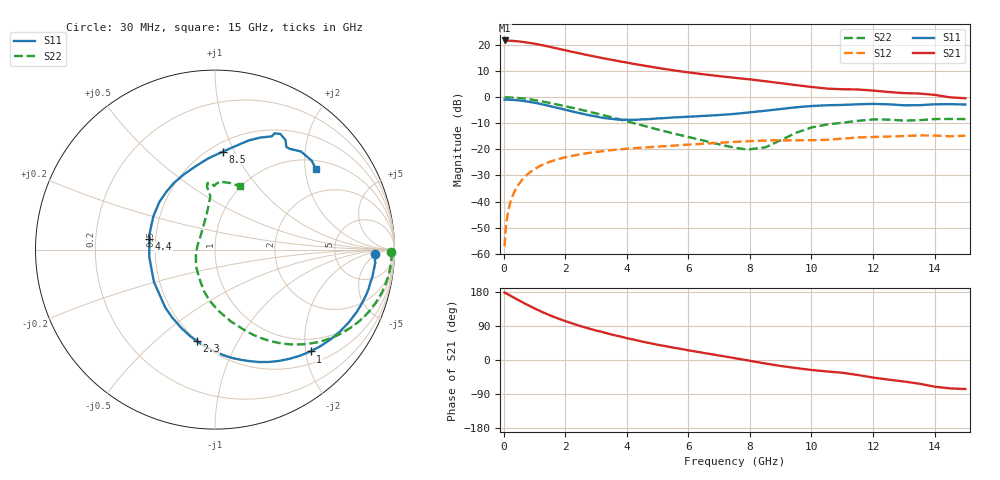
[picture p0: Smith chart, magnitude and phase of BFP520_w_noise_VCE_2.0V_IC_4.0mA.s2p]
! Infineon Technologies  Discrete & RF Semiconductors
! BFP520
! VCE =  2.0 V,  IC =  4.0 mA
! Common Emitter S-Parameters:  Oct 2015
# GHz  S  MA  R  50
!  f  S11  S21  S12  S22
! GHz  MAG  ANG  MAG  ANG  MAG  ANG  MAG  ANG
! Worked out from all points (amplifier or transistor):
!   109 points, 30 MHz to 15 GHz, reference 50 ohm
!   highest |S21| = 21.7 dB at 30 MHz (marker M1)
!   |S21| within 3 dB of that: start of sweep to 1.714 GHz
!   unconditionally stable (mu >= 1): 4.41 GHz to end of sweep
!   at 450 MHz: K = 0.11, MSG = 27.7 dB, |S12| = -34.1 dB
!   at 4 GHz: K = 0.93, MSG = 16.5 dB, |S12| = -19.8 dB
!   at 15 GHz: K = 1.43, MAG = 3.3 dB, |S12| = -14.8 dB
!   lowest NFmin = 1.09 dB at 900 MHz
!   S11 on the Smith chart (normalised r, x): 30 MHz: 17, -4; 1 GHz: 0.73, -2.10; 2.3 GHz: 0.50, -0.69; 4.4 GHz: 0.46, +0.06; 8.5 GHz: 0.58, +0.90; 15 GHz: 1.23, +2.29
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0.03  0.8938 -1.4  12.12 178.1  0.0014 74.8  0.9832 -0.9
0.1  0.8971 -4.8  11.98 175.1  0.0045 83.5  0.9846 -3.0
0.2  0.8903 -9.5  11.98 170.6  0.0089 82.7  0.9812 -6.1
0.35  0.8791 -16.7  11.82 163.9  0.0155 80.7  0.9715 -10.8
0.6  0.8488 -28.5  11.41 152.8  0.0261 74.9  0.9431 -18.3
0.8  0.8158 -37.7  10.96 144.2  0.0342 70.3  0.9118 -24.1
1  0.778 -46.8  10.49 136.3  0.0417 66.0  0.8749 -29.6
1.2  0.7366 -55.7  9.959 128.6  0.0486 61.9  0.8346 -34.8
1.5  0.6727 -68.6  9.151 118.0  0.0577 56.2  0.7715 -41.9
1.9  0.5916 -85.1  8.116 105.6  0.068 49.6  0.6884 -50.2
2.3  0.5185 -101.4  7.197 94.6  0.0765 43.9  0.6102 -57.4
2.6  0.4737 -113.8  6.596 87.0  0.0822 40.2  0.5557 -62.5
3  0.4258 -130.5  5.903 77.8  0.089 35.8  0.4873 -69.0
3.5  0.385 -152.2  5.176 67.2  0.0965 30.5  0.4111 -77.4
4.4  0.3704 171.0  4.148 50.5  0.1069 22.1  0.2976 -93.7
5.1  0.3923 149.2  3.546 38.8  0.1136 16.9  0.2318 -106.2
6  0.4209 130.1  2.968 25.5  0.1228 10.9  0.1722 -122.2
7.6  0.4827 101.1  2.307 3.6  0.1396 -0.6  0.1055 -171.9
8.5  0.5473 85.5  2.01 -9.3  0.1471 -8.0  0.1089 138.6
10.5  0.6971 64.5  1.454 -30.2  0.1521 -19.5  0.2981 95.0
13  0.6966 55.2  1.19 -56.7  0.1795 -37.7  0.3544 90.7
15  0.7192 38.5  0.949 -76.6  0.1822 -52.5  0.3792 68.3
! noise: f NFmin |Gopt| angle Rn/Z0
0.45  1.12  0.53  3  0.34
0.9  1.09  0.51  11  0.35
1.9  1.34  0.42  23  0.3
2.4  1.4  0.38  35  0.29
3.5  1.35  0.36  58  0.27
